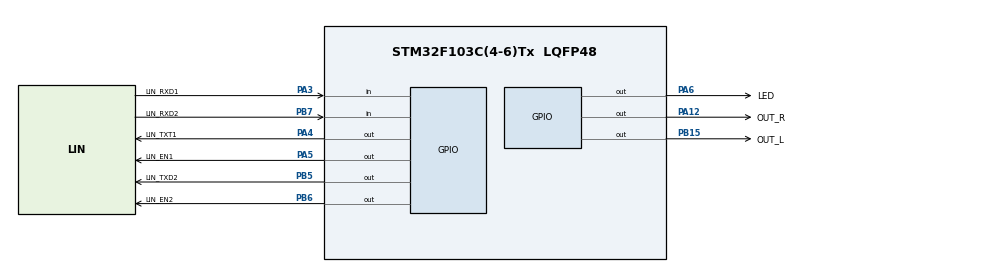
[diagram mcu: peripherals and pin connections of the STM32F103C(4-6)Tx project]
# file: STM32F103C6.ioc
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Mcu.Family=STM32F1
Mcu.Name=STM32F103C(4-6)Tx
Mcu.Package=LQFP48
NVIC.PriorityGroup=NVIC_PRIORITYGROUP_4
PA12.GPIO_Label=OUT_R
PA12.Signal=GPIO_Output
PA13.Mode=Trace_Asynchronous_SW
PA13.Signal=SYS_JTMS-SWDIO
PA14.Mode=Trace_Asynchronous_SW
PA14.Signal=SYS_JTCK-SWCLK
PA3.GPIO_Label=LIN_RXD1
PA3.Signal=GPIO_Input
PA4.GPIO_Label=LIN_TXT1
PA4.Signal=GPIO_Output
PA5.GPIO_Label=LIN_EN1
PA5.Signal=GPIO_Output
PA6.GPIO_Label=LED
PA6.Signal=GPIO_Output
PB15.GPIO_Label=OUT_L
PB15.Signal=GPIO_Output
PB3.Mode=Trace_Asynchronous_SW
PB3.Signal=SYS_JTDO-TRACESWO
PB5.GPIO_Label=LIN_TXD2
PB5.Signal=GPIO_Output
PB6.GPIO_Label=LIN_EN2
PB6.Signal=GPIO_Output
PB7.GPIO_Label=LIN_RXD2
PB7.Signal=GPIO_Input
ProjectManager.HeapSize=0x200
ProjectManager.StackSize=0x400
ProjectManager.TargetToolchain=Makefile
RCC.APB1Freq_Value=8000000
RCC.APB2Freq_Value=8000000
board=custom

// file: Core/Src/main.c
/* USER CODE BEGIN Header */
/**
  ******************************************************************************
  * @file           : main.c
  * @brief          : Main program body
  ******************************************************************************
  * @attention
  *
  * <h2><center>&copy; Copyright (c) 2021 STMicroelectronics.
  * All rights reserved.</center></h2>
  *
  * This software component is licensed by ST under BSD 3-Clause license,
  * the "License"; You may not use this file except in compliance with the
  * License. You may obtain a copy of the License at:
  *                        opensource.org/licenses/BSD-3-Clause
  *
  ******************************************************************************
  */
/* USER CODE END Header */
#include "main.h"

/* USER CODE BEGIN Includes */
//#include <stdio.h>
#include "SEGGER_RTT.h"
// https://mcuoneclipse.com/2021/10/03/visual-studio-code-for-c-c-with-arm-cortex-m-part-9-rtt/

/* USER CODE END Includes */

void SystemClock_Config(void);
static void MX_GPIO_Init(void);

/* USER CODE BEGIN 0 */
/*int _write(int file, char *ptr, int len)
{
  int i=0;
  for(i=0;i<len;i++)
    ITM_SendChar(*ptr++);
  return len;
}*/
/* USER CODE END 0 */

int main(void)
{

  /* MCU Configuration--------------------------------------------------------*/

  /* Reset of all peripherals, Initializes the Flash interface and the Systick. */
  HAL_Init();

  /* Configure the system clock */
  SystemClock_Config();

  /* Initialize all configured peripherals */
  MX_GPIO_Init();
  /* USER CODE BEGIN 2 */

  HAL_GPIO_WritePin(LIN_TXT1_GPIO_Port, LIN_TXT1_Pin, GPIO_PIN_SET);
  HAL_GPIO_WritePin(LIN_TXD2_GPIO_Port, LIN_TXD2_Pin, GPIO_PIN_SET);
  HAL_GPIO_WritePin(LIN_EN1_GPIO_Port, LIN_EN1_Pin, GPIO_PIN_SET);
  HAL_GPIO_WritePin(LIN_EN2_GPIO_Port, LIN_EN2_Pin, GPIO_PIN_SET);

  HAL_GPIO_WritePin(OUT_L_GPIO_Port, OUT_L_Pin, GPIO_PIN_SET);
  HAL_GPIO_WritePin(OUT_R_GPIO_Port, OUT_R_Pin, GPIO_PIN_SET);

  HAL_GPIO_WritePin(LED_GPIO_Port, LED_Pin, GPIO_PIN_SET);

  HAL_Delay(1000);

  enum
  {
	  Idle,
	  L_active,
	  R_active

  }state;

  state = Idle;

  SEGGER_RTT_Init();
  SEGGER_RTT_printf(0, RTT_CTRL_RESET);
  SEGGER_RTT_printf(0, RTT_CTRL_TEXT_RED"RTT_CTRL_TEXT_RED"RTT_CTRL_RESET"\n");
  SEGGER_RTT_printf(0, RTT_CTRL_TEXT_GREEN"RTT_CTRL_TEXT_GREEN"RTT_CTRL_RESET"\n");
  SEGGER_RTT_printf(0, RTT_CTRL_TEXT_YELLOW"RTT_CTRL_TEXT_YELLOW"RTT_CTRL_RESET"\n");
  SEGGER_RTT_printf(0, RTT_CTRL_TEXT_BLUE"RTT_CTRL_TEXT_BLUE"RTT_CTRL_RESET"\n");
  SEGGER_RTT_printf(0, RTT_CTRL_TEXT_MAGENTA"RTT_CTRL_TEXT_MAGENTA"RTT_CTRL_RESET"\n");
  SEGGER_RTT_printf(0, RTT_CTRL_TEXT_CYAN"RTT_CTRL_TEXT_CYAN"RTT_CTRL_RESET"\n");
  SEGGER_RTT_printf(0, RTT_CTRL_TEXT_WHITE"RTT_CTRL_TEXT_WHITE"RTT_CTRL_RESET"\n");
  SEGGER_RTT_printf(0, RTT_CTRL_TEXT_BRIGHT_BLACK"RTT_CTRL_TEXT_BRIGHT_BLACK"RTT_CTRL_RESET"\n");
  SEGGER_RTT_printf(0, RTT_CTRL_TEXT_BRIGHT_RED"RTT_CTRL_TEXT_BRIGHT_RED"RTT_CTRL_RESET"\n");
  SEGGER_RTT_printf(0, RTT_CTRL_TEXT_BRIGHT_GREEN"RTT_CTRL_TEXT_BRIGHT_GREEN"RTT_CTRL_RESET"\n");
  SEGGER_RTT_printf(0, RTT_CTRL_TEXT_BRIGHT_YELLOW"RTT_CTRL_TEXT_BRIGHT_YELLOW"RTT_CTRL_RESET"\n");
  SEGGER_RTT_printf(0, RTT_CTRL_TEXT_BRIGHT_BLUE"RTT_CTRL_TEXT_BRIGHT_BLUE"RTT_CTRL_RESET"\n");
  SEGGER_RTT_printf(0, RTT_CTRL_TEXT_BRIGHT_MAGENTA"RTT_CTRL_TEXT_BRIGHT_MAGENTA"RTT_CTRL_RESET"\n");
  SEGGER_RTT_printf(0, RTT_CTRL_TEXT_BRIGHT_CYAN"RTT_CTRL_TEXT_BRIGHT_CYAN"RTT_CTRL_RESET"\n");
  SEGGER_RTT_printf(0, RTT_CTRL_TEXT_BRIGHT_WHITE"RTT_CTRL_TEXT_BRIGHT_WHITE"RTT_CTRL_RESET"\n");

  printf("App Start!\n");

  /* USER CODE END 2 */

  /* Infinite loop */
  /* USER CODE BEGIN WHILE */
  while (1)
  {
    SEGGER_RTT_WriteString(0, "Hello World from SEGGER!\r\n");
    printf("Hello World from SEGGER!\r\n");
	  if(state == Idle)
	  {
		  if(GPIO_PIN_RESET == HAL_GPIO_ReadPin(LIN_RXD1_GPIO_Port, LIN_RXD1_Pin))
		  {
        //printf("L_active\n");
			  state = L_active;
			  HAL_GPIO_WritePin(LIN_TXT1_GPIO_Port, LIN_TXT1_Pin, GPIO_PIN_SET);
			  HAL_GPIO_WritePin(LIN_TXD2_GPIO_Port, LIN_TXD2_Pin, GPIO_PIN_RESET);
			  HAL_GPIO_WritePin(OUT_L_GPIO_Port, OUT_L_Pin, GPIO_PIN_RESET);
			  HAL_GPIO_WritePin(LED_GPIO_Port, LED_Pin, GPIO_PIN_SET);
		  }
		  else if(GPIO_PIN_RESET == HAL_GPIO_ReadPin(LIN_RXD2_GPIO_Port, LIN_RXD2_Pin))
		  {
        //printf("R_active\n");
			  state = R_active;
			  HAL_GPIO_WritePin(LIN_TXT1_GPIO_Port, LIN_TXT1_Pin, GPIO_PIN_RESET);
			  HAL_GPIO_WritePin(LIN_TXD2_GPIO_Port, LIN_TXD2_Pin, GPIO_PIN_SET);
			  HAL_GPIO_WritePin(OUT_R_GPIO_Port, OUT_R_Pin, GPIO_PIN_RESET);
			  HAL_GPIO_WritePin(LED_GPIO_Port, LED_Pin, GPIO_PIN_SET);
		  }
	  }

	  if(state == L_active)
	  {
		  if(GPIO_PIN_SET == HAL_GPIO_ReadPin(LIN_RXD1_GPIO_Port, LIN_RXD1_Pin))
		  {
        //printf("Idle\n");
			  state = Idle;
			  HAL_GPIO_WritePin(LIN_TXT1_GPIO_Port, LIN_TXT1_Pin, GPIO_PIN_SET);
			  HAL_GPIO_WritePin(LIN_TXD2_GPIO_Port, LIN_TXD2_Pin, GPIO_PIN_SET);
			  HAL_GPIO_WritePin(OUT_L_GPIO_Port, OUT_L_Pin, GPIO_PIN_SET);
			  HAL_GPIO_WritePin(OUT_R_GPIO_Port, OUT_R_Pin, GPIO_PIN_SET);
			  HAL_GPIO_WritePin(LED_GPIO_Port, LED_Pin, GPIO_PIN_RESET);
		  }
	  }

	  if(state == R_active)
	  {
		  if(GPIO_PIN_SET == HAL_GPIO_ReadPin(LIN_RXD2_GPIO_Port, LIN_RXD2_Pin))
		  {
        //printf("Idle\n");
			  state = Idle;
			  HAL_GPIO_WritePin(LIN_TXT1_GPIO_Port, LIN_TXT1_Pin, GPIO_PIN_SET);
			  HAL_GPIO_WritePin(LIN_TXD2_GPIO_Port, LIN_TXD2_Pin, GPIO_PIN_SET);
			  HAL_GPIO_WritePin(OUT_L_GPIO_Port, OUT_L_Pin, GPIO_PIN_SET);
			  HAL_GPIO_WritePin(OUT_R_GPIO_Port, OUT_R_Pin, GPIO_PIN_SET);
			  HAL_GPIO_WritePin(LED_GPIO_Port, LED_Pin, GPIO_PIN_RESET);
		  }
	  }

    /* USER CODE END WHILE */

  }
}

void SystemClock_Config(void)
{
  RCC_OscInitTypeDef RCC_OscInitStruct = {0};
  RCC_ClkInitTypeDef RCC_ClkInitStruct = {0};

  /** Initializes the RCC Oscillators according to the specified parameters
  * in the RCC_OscInitTypeDef structure.
  */
  RCC_OscInitStruct.OscillatorType = RCC_OSCILLATORTYPE_HSI;
  RCC_OscInitStruct.HSIState = RCC_HSI_ON;
  RCC_OscInitStruct.HSICalibrationValue = RCC_HSICALIBRATION_DEFAULT;
  RCC_OscInitStruct.PLL.PLLState = RCC_PLL_NONE;
  if (HAL_RCC_OscConfig(&RCC_OscInitStruct) != HAL_OK)
  {
    Error_Handler();
  }
  /** Initializes the CPU, AHB and APB buses clocks
  */
  RCC_ClkInitStruct.ClockType = RCC_CLOCKTYPE_HCLK|RCC_CLOCKTYPE_SYSCLK
                              |RCC_CLOCKTYPE_PCLK1|RCC_CLOCKTYPE_PCLK2;
  RCC_ClkInitStruct.SYSCLKSource = RCC_SYSCLKSOURCE_HSI;
  RCC_ClkInitStruct.AHBCLKDivider = RCC_SYSCLK_DIV1;
  RCC_ClkInitStruct.APB1CLKDivider = RCC_HCLK_DIV1;
  RCC_ClkInitStruct.APB2CLKDivider = RCC_HCLK_DIV1;

  if (HAL_RCC_ClockConfig(&RCC_ClkInitStruct, FLASH_LATENCY_0) != HAL_OK)
  {
    Error_Handler();
  }
}

static void MX_GPIO_Init(void)
{
  GPIO_InitTypeDef GPIO_InitStruct = {0};

  /* GPIO Ports Clock Enable */
  __HAL_RCC_GPIOA_CLK_ENABLE();
  __HAL_RCC_GPIOB_CLK_ENABLE();

  /*Configure GPIO pin Output Level */
  HAL_GPIO_WritePin(GPIOA, LIN_TXT1_Pin|LIN_EN1_Pin|LED_Pin|OUT_R_Pin, GPIO_PIN_RESET);

  /*Configure GPIO pin Output Level */
  HAL_GPIO_WritePin(GPIOB, OUT_L_Pin|LIN_TXD2_Pin|LIN_EN2_Pin, GPIO_PIN_RESET);

  /*Configure GPIO pin : LIN_RXD1_Pin */
  GPIO_InitStruct.Pin = LIN_RXD1_Pin;
  GPIO_InitStruct.Mode = GPIO_MODE_INPUT;
  GPIO_InitStruct.Pull = GPIO_NOPULL;
  HAL_GPIO_Init(LIN_RXD1_GPIO_Port, &GPIO_InitStruct);

  /*Configure GPIO pins : LIN_TXT1_Pin LIN_EN1_Pin LED_Pin OUT_R_Pin */
  GPIO_InitStruct.Pin = LIN_TXT1_Pin|LIN_EN1_Pin|LED_Pin|OUT_R_Pin;
  GPIO_InitStruct.Mode = GPIO_MODE_OUTPUT_PP;
  GPIO_InitStruct.Pull = GPIO_NOPULL;
  GPIO_InitStruct.Speed = GPIO_SPEED_FREQ_LOW;
  HAL_GPIO_Init(GPIOA, &GPIO_InitStruct);

  /*Configure GPIO pins : OUT_L_Pin LIN_TXD2_Pin LIN_EN2_Pin */
  GPIO_InitStruct.Pin = OUT_L_Pin|LIN_TXD2_Pin|LIN_EN2_Pin;
  GPIO_InitStruct.Mode = GPIO_MODE_OUTPUT_PP;
  GPIO_InitStruct.Pull = GPIO_NOPULL;
  GPIO_InitStruct.Speed = GPIO_SPEED_FREQ_LOW;
  HAL_GPIO_Init(GPIOB, &GPIO_InitStruct);

  /*Configure GPIO pin : LIN_RXD2_Pin */
  GPIO_InitStruct.Pin = LIN_RXD2_Pin;
  GPIO_InitStruct.Mode = GPIO_MODE_INPUT;
  GPIO_InitStruct.Pull = GPIO_NOPULL;
  HAL_GPIO_Init(LIN_RXD2_GPIO_Port, &GPIO_InitStruct);

}

void Error_Handler(void)
{
  __disable_irq();
  while (1)
  {
  }
}

/************************ (C) COPYRIGHT STMicroelectronics *****END OF FILE****/
